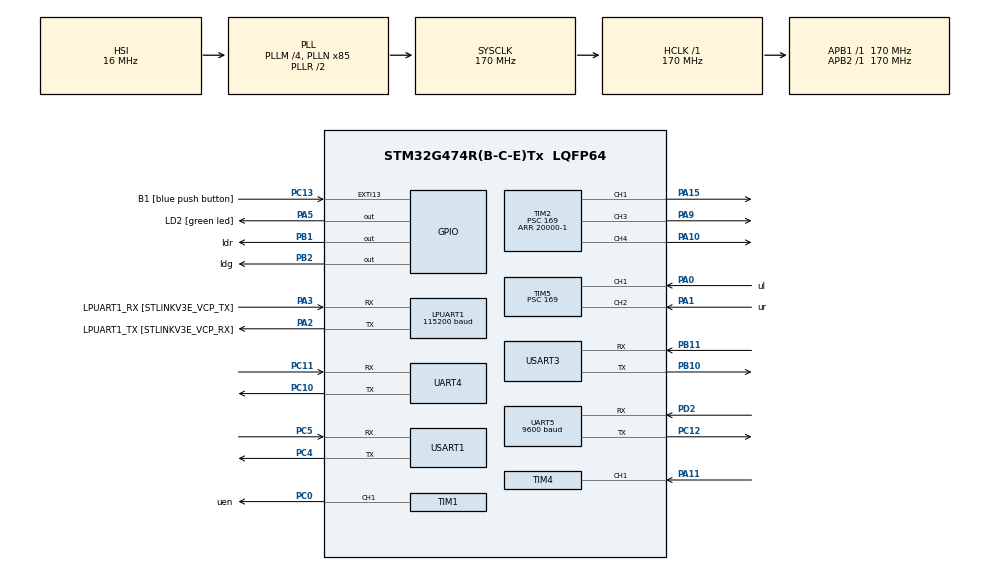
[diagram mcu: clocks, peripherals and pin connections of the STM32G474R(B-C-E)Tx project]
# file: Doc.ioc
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LPUART1.BaudRate=115200
Mcu.Family=STM32G4
Mcu.Name=STM32G474R(B-C-E)Tx
Mcu.Package=LQFP64
NVIC.EXTI15_10_IRQn=true\:0\:0\:false\:false\:true\:true\:true\:true
NVIC.PriorityGroup=NVIC_PRIORITYGROUP_4
NVIC.TIM4_IRQn=true\:0\:0\:false\:false\:true\:true\:true\:true
NVIC.TIM5_IRQn=true\:0\:0\:false\:false\:true\:true\:true\:true
PA0.GPIO_Label=ul
PA0.Signal=S_TIM5_CH1
PA1.GPIO_Label=ur
PA1.Signal=S_TIM5_CH2
PA10.Signal=S_TIM2_CH4
PA11.Signal=S_TIM4_CH1
PA13.GPIO_Label=T_SWDIO
PA13.Mode=Serial_Wire
PA13.Signal=SYS_JTMS-SWDIO
PA14.GPIO_Label=T_SWCLK
PA14.Mode=Serial_Wire
PA14.Signal=SYS_JTCK-SWCLK
PA15.Signal=S_TIM2_CH1
PA2.GPIO_Label=LPUART1_TX [STLINKV3E_VCP_RX]
PA2.Mode=Asynchronous
PA2.Signal=LPUART1_TX
PA3.GPIO_Label=LPUART1_RX [STLINKV3E_VCP_TX]
PA3.Mode=Asynchronous
PA3.Signal=LPUART1_RX
PA5.GPIO_Label=LD2 [green led]
PA5.Signal=GPIO_Output
PA9.Signal=S_TIM2_CH3
PB1.GPIO_Label=ldr
PB1.Signal=GPIO_Output
PB10.Mode=Asynchronous
PB10.Signal=USART3_TX
PB11.Mode=Asynchronous
PB11.Signal=USART3_RX
PB2.GPIO_Label=ldg
PB2.Signal=GPIO_Output
PB3.GPIO_Label=T_SWO
PB3.Signal=SYS_JTDO-SWO
PC0.GPIO_Label=uen
PC0.Signal=S_TIM1_CH1
PC10.Mode=Asynchronous
PC10.Signal=UART4_TX
PC11.Mode=Asynchronous
PC11.Signal=UART4_RX
PC12.Mode=Asynchronous
PC12.Signal=UART5_TX
PC13.GPIO_Label=B1 [blue push button]
PC13.Signal=GPXTI13
PC14-OSC32_IN.Mode=LSE-External-Oscillator
PC14-OSC32_IN.Signal=RCC_OSC32_IN
PC15-OSC32_OUT.Mode=LSE-External-Oscillator
PC15-OSC32_OUT.Signal=RCC_OSC32_OUT
PC4.Mode=Asynchronous
PC4.Signal=USART1_TX
PC5.Mode=Asynchronous
PC5.Signal=USART1_RX
PD2.Mode=Asynchronous
PD2.Signal=UART5_RX
PF0-OSC_IN.Mode=HSE-External-Oscillator
PF0-OSC_IN.Signal=RCC_OSC_IN
PF1-OSC_OUT.Mode=HSE-External-Oscillator
PF1-OSC_OUT.Signal=RCC_OSC_OUT
ProjectManager.HeapSize=0x200
ProjectManager.StackSize=0x400
ProjectManager.TargetToolchain=STM32CubeIDE
RCC.ADC12Freq_Value=170000000
RCC.ADC345Freq_Value=170000000
RCC.AHBFreq_Value=170000000
RCC.APB1Freq_Value=170000000
RCC.APB1TimFreq_Value=170000000
RCC.APB2Freq_Value=170000000
RCC.APB2TimFreq_Value=170000000
RCC.CortexFreq_Value=170000000
RCC.EXTERNAL_CLOCK_VALUE=12288000
RCC.HCLKFreq_Value=170000000
RCC.HSE_VALUE=24000000
RCC.HSI48_VALUE=48000000
RCC.HSI_VALUE=16000000
RCC.PLLM=RCC_PLLM_DIV4
RCC.PLLN=85
RCC.RTCClockSelection=RCC_RTCCLKSOURCE_LSE
RCC.SYSCLKFreq_VALUE=170000000
RCC.SYSCLKSource=RCC_SYSCLKSOURCE_PLLCLK
RCC.USBFreq_Value=170000000
RCC.VCOOutputFreq_Value=340000000
SH.S_TIM1_CH1.0=TIM1_CH1,PWM Generation1 CH1
SH.S_TIM2_CH1.0=TIM2_CH1,PWM Generation1 CH1
SH.S_TIM2_CH3.0=TIM2_CH3,PWM Generation3 CH3
SH.S_TIM2_CH4.0=TIM2_CH4,PWM Generation4 CH4
SH.S_TIM4_CH1.0=TIM4_CH1,Input_Capture1_from_TI1
SH.S_TIM5_CH1.0=TIM5_CH1,Input_Capture1_from_TI1
SH.S_TIM5_CH2.0=TIM5_CH2,Input_Capture2_from_TI2
TIM1.Channel-PWM\ Generation1\ CH1=TIM_CHANNEL_1
TIM1.PeriodNoDither=3499
TIM1.Prescaler=1699
TIM1.PulseNoDither_1=1
TIM2.Channel-PWM\ Generation1\ CH1=TIM_CHANNEL_1
TIM2.Channel-PWM\ Generation3\ CH3=TIM_CHANNEL_3
TIM2.Channel-PWM\ Generation4\ CH4=TIM_CHANNEL_4
TIM2.PeriodNoDither=20000-1
TIM2.Prescaler=169
TIM2.PulseNoDither_1=500
TIM2.PulseNoDither_3=500
TIM2.PulseNoDither_4=500
TIM4.Channel-Input_Capture1_from_TI1=TIM_CHANNEL_1
TIM4.ICPolarity_CH1=TIM_INPUTCHANNELPOLARITY_BOTHEDGE
TIM4.PeriodNoDither=0xffff
TIM4.Prescaler=33999
TIM5.Channel-Input_Capture1_from_TI1=TIM_CHANNEL_1
TIM5.Channel-Input_Capture2_from_TI2=TIM_CHANNEL_2
TIM5.ICPolarity_CH1=TIM_INPUTCHANNELPOLARITY_BOTHEDGE
TIM5.ICPolarity_CH2=TIM_INPUTCHANNELPOLARITY_BOTHEDGE
TIM5.PeriodNoDither=0xffffffff
TIM5.Prescaler=169
UART5.BaudRate=9600
USART1.VirtualMode-Asynchronous=VM_ASYNC
USART3.VirtualMode-Asynchronous=VM_ASYNC
VP_SYS_VS_DBSignals.Mode=DisableDeadBatterySignals
VP_TIM1_VS_ClockSourceINT.Mode=Internal
VP_TIM2_VS_ClockSourceINT.Mode=Internal
VP_TIM4_VS_ClockSourceINT.Mode=Internal
VP_TIM5_VS_ClockSourceINT.Mode=Internal
board=NUCLEO-G474RE

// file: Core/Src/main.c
/* USER CODE BEGIN Header */
/**
  ******************************************************************************
  * @file           : main.c
  * @brief          : Main program body
  ******************************************************************************
  * @attention
  *
  * Copyright (c) 2023 STMicroelectronics.
  * All rights reserved.
  *
  * This software is licensed under terms that can be found in the LICENSE file
  * in the root directory of this software component.
  * If no LICENSE file comes with this software, it is provided AS-IS.
  *
  ******************************************************************************
  */
/* USER CODE END Header */
#include "main.h"

/* USER CODE BEGIN Includes */
#include "stdio.h"

#include "pid.h"
/* USER CODE END Includes */

/* USER CODE BEGIN PD */

//for ATK process
#define  UART_ENABLE_RE(USARTx)       USARTx.Instance->CR1|= (uint32_t)0x0004
#define  UART_DISABLE_RE(USARTx)      USARTx.Instance->CR1&= (~(uint32_t)0x0004)

/* USER CODE END PD */

UART_HandleTypeDef hlpuart1;
UART_HandleTypeDef huart4;
UART_HandleTypeDef huart5;
UART_HandleTypeDef huart1;
UART_HandleTypeDef huart3;

TIM_HandleTypeDef htim1;
TIM_HandleTypeDef htim2;
TIM_HandleTypeDef htim4;
TIM_HandleTypeDef htim5;

/* USER CODE BEGIN PV */
//varables for the timer
uint8_t timel_flag=0;//0: first capture, 1: second capture
uint8_t timel_fin=0;//0: not finished, 1: finished
uint64_t timel_1=0;
uint64_t timel_2=0;//left sensor
double cml=0;//cm of left sensor

uint8_t timer_flag=0;//0: first capture, 1: second capture
uint8_t timer_fin=0;//0: not finished, 1: finished
uint64_t timer_1=0;
uint64_t timer_2=0;//right sensor
double cmr=0;//cm of right sensor

uint8_t timef_flag=0;
uint8_t timef_fin=0;//0: not finished, 1: finished
uint32_t timef_1=0;
uint32_t timef_2=0;//right sensor
double cmf=0;//cm of right sensor

double Inputultra, Outputultra;
double Setpointultra= 0;
double Inputdistance, Outputdistance;
double Setpointdistance= 20;
PID_TypeDef myPIDultra; //PID structure
PID_TypeDef myPIDdistance; //PID structure

uint8_t xspeed=0;//speed of x axis
uint8_t xflag=0;//2: forward, 1: backward

uint8_t yspeed=0;//speed of y axis
uint8_t yflag=0;//2: right, 1: left

uint16_t wspeed=0;//anguler speed
uint8_t wflag=0;//2: counter-clock, 1: clock

uint8_t openmv_instrction[7]={0};//instruction from openmv

float roll, pitch, yaw; // ATK Return Value
int selfAngelint;
float initial_Pitch; // ATK Return Value
int initial_selfAngelint;
/* USER CODE END PV */

void SystemClock_Config(void);
static void MX_GPIO_Init(void);
static void MX_TIM5_Init(void);
static void MX_TIM1_Init(void);
static void MX_LPUART1_UART_Init(void);
static void MX_UART4_Init(void);
static void MX_TIM4_Init(void);
static void MX_UART5_Init(void);
static void MX_USART1_UART_Init(void);
static void MX_USART3_UART_Init(void);
static void MX_TIM2_Init(void);
/* USER CODE BEGIN PFP */
//Redirect printf to UART
#define PUTCHAR_PROTOTYPE int __io_putchar(int ch)

//define a function to toggle the LD2 LED in a certain pattern
void toggleLD2(uint32_t delay) {
  HAL_GPIO_WritePin(LD2_GPIO_Port, LD2_Pin, GPIO_PIN_SET);
  HAL_Delay(delay);
  HAL_GPIO_WritePin(LD2_GPIO_Port, LD2_Pin,GPIO_PIN_RESET);
  HAL_Delay(delay);
  //printf("Working\r\n");
}

//interrupt handler for the timer
void HAL_TIM_IC_CaptureCallback(TIM_HandleTypeDef *htim)
{
  if (htim->Instance == TIM5) {
      switch (htim->Channel) {
        case HAL_TIM_ACTIVE_CHANNEL_2://right sensor
          if(timer_flag==0)
          {
            timer_1 = HAL_TIM_ReadCapturedValue(htim, TIM_CHANNEL_2);
            //printf("Echo right counter tr1= %d\r\n",timer_1);
            timer_flag=1;
            timer_fin=0;
          }
          else
          {
            timer_2 = HAL_TIM_ReadCapturedValue(htim, TIM_CHANNEL_2);
            //printf("Echo right counter tr2= %d\r\n",timer_2);
            timer_flag=0;
            timer_fin=1;
            if(timer_1<timer_2)//if the timer is not overflowed
            {
              cmr = (double)(timer_2 - timer_1) * 0.017;//340*100/1e6/2
            }
            else
            {
              cmr = (double)(timer_2 + 0xffffffff - timer_1) * 0.017;//340*100/1e6/2
            }
            timer_1=0;
            //printf("Distance right = %.3f cm. \r\n",  cmr);
          }
          //printf("Echo right: t1= %.3f us,  t2= %.3f us\r",timer_1*10, timer_2*10);
          HAL_TIM_IC_Start_IT(&htim5, TIM_CHANNEL_2);
          break;

        case HAL_TIM_ACTIVE_CHANNEL_1://left sensor
          if(timel_flag==0)
          {
            timel_1 = HAL_TIM_ReadCapturedValue(htim, TIM_CHANNEL_1);
            //printf("Echo left counter tl1= %d\r\n",timel_1);
            timel_flag=1;
            timel_fin=0;
          }
          else
          {
            timel_2 = HAL_TIM_ReadCapturedValue(htim, TIM_CHANNEL_1);
            //printf("Echo left counter tl2= %d\r\n",timel_2);
            timel_flag=0;
            timel_fin=1;
            if(timel_1<timel_2)//if the timer is not overflowed
            {
              cml = (double)(timel_2 - timel_1) * 0.017;//340*100/1e6/2
            }
            else
            {
              cml = (double)(timel_2 + 0xffffffff - timel_1) * 0.017;//340*100/1e6/2
            }
            timel_1=0;
          }
          //printf("Echo left: t1= %.3f us,  t2= %.3f us\r",timel_1*10, timel_2*10);
          //printf("Distance left = %.3f cm. \r\n",  cml);
          HAL_TIM_IC_Start_IT(&htim5, TIM_CHANNEL_1);
          break;
        default:
          printf("Error timer channel.\r\n");
          break;
      }
    }
  if (htim->Instance == TIM4) {
    switch (htim->Channel) {
        case HAL_TIM_ACTIVE_CHANNEL_1://right sensor
          if(timef_flag==0)
          {
            timef_1 = HAL_TIM_ReadCapturedValue(htim, TIM_CHANNEL_1);
            //printf("Echo front: tf1= %d us\r",timef_1*10);
            timef_flag=1;
            timef_fin=0;
          }
          else
          {
            timef_2 = HAL_TIM_ReadCapturedValue(htim, TIM_CHANNEL_1);
            timef_flag=0;
            timef_fin=1;
            if(timef_1<timef_2)//if the timer is not overflowed
            {
              cmf = (double)(timef_2 - timef_1) * 3.4;//340*100/5e3/2
            }
            else
            {
              cmf = (double)(timef_2 + 0xffff - timef_1) * 3.4;//340*100/5e3/2
            }
            timef_1=0;
          }
          //printf("Echo front: t= %.3f us\r\n",timel_1*10, timer_2*10);
          //printf("Distance front = %.3f cm. \r\n",  cmf);
          HAL_TIM_IC_Start_IT(&htim4, TIM_CHANNEL_1);
          break;
        default:
          printf("Error timer channel.\r\n");
          break;
    }
  }
}
void toggleldr(uint32_t delay) {
  HAL_GPIO_WritePin(ldr_GPIO_Port, ldr_Pin,GPIO_PIN_SET);
  HAL_Delay(delay);
  HAL_GPIO_WritePin(ldr_GPIO_Port, ldr_Pin,GPIO_PIN_RESET);
  HAL_Delay(delay);
}

void toggleldg(uint32_t delay) {
  HAL_GPIO_WritePin(ldg_GPIO_Port, ldg_Pin,GPIO_PIN_SET);
  HAL_Delay(delay);
  HAL_GPIO_WritePin(ldg_GPIO_Port, ldg_Pin,GPIO_PIN_RESET);
  HAL_Delay(delay);
}

void drive ()
{
  //Transfer int to char for output
    char outputstr [11];
    outputstr [0] = 0x90;
    outputstr [1] = xflag;
    outputstr [2] = xspeed / 10;
    outputstr [3] = xspeed % 10;
    outputstr [4] = yflag;
    outputstr [5] = yspeed / 10;
    outputstr [6] = yspeed % 10;
    outputstr [7] = wflag;
    outputstr [8] = wspeed / 100;
    outputstr [9] = wspeed % 100 / 10;
    outputstr [10] = wspeed % 10;
    //Transmit the instruction to the motor driver
    HAL_UART_Transmit(&huart4, (uint8_t*)outputstr, 11, 100);
}
//Redirect arduino print to UART
void print(double c)
{
  printf("%.3f", c);
}
//Redirect arduino println to UART
void println(double str)
{
  printf("%.3f\r\n", str);
}
//Redifine output functions

void Right(uint8_t speed)
{
  yspeed=speed;
  yflag=2;
}

void Left(uint8_t speed)
{
  yspeed=speed;
  yflag=1;
}

void Forward(uint8_t speed)
{
  xspeed=speed;
  xflag=2;
}

void Backward(uint8_t speed)
{
  xspeed=speed;
  xflag=1;
}

void Turn_Left(uint16_t speed)
{
  wspeed=speed;
  wflag=2;
}

void Turn_Right(uint16_t speed)
{
  wspeed=speed;
  wflag=1;
}

void Alignment(double cmleft, double cmright)
{
  printf("Distance left = %.3f cm, Distance right = %.3f cm.\r\n", cmleft, cmright);
  Inputultra = cmleft-cmright;
  Inputdistance = (cmleft + cmright) / 2;

  if (PID_Compute(&myPIDdistance)==_FALSE)
    printf("PID_Compute for distance error\r\n");

  printf("Outputdistance = %.3f\r\n", Outputdistance);
  //myPIDdistance.Compute();

  if(Outputdistance < 0)//if there is a need to move closer to wall
  {
    if(Inputdistance < 21)//but the actual distance is not that far
    {
      //do nothing
      //println(Inputdistance);
      //println(Outputdistance);
      //allstop();?
      Left(0);
    }
    else
    {
      //move far from the wall
      printf("Too far from wall\r\n");
      Left((uint8_t)(-Outputdistance));
      // println(Inputdistance);
      // println(Outputdistance);
    }
  }
  else
  {//if there is a need to move far from the wall
    if(Inputdistance > 19)//but the actual distance is not that close
    {
      //do nothing
      // println(Inputdistance);
      // println(Outputdistance);
      //allstop();
      Right(0);
    }
    else
    {
      printf("Too close to wall\r\n");
      Right((uint8_t)Outputdistance);
      // println(Inputdistance);
      // println(Outputdistance);
    }
  }

  if (PID_Compute(&myPIDultra)==_FALSE)
    printf("PID_Compute for ultra error\r\n");

  printf("Outputultra = %.3f\r\n", Outputultra);
  //myPIDultra.Compute();

  if (Outputultra >= 0)
  {
    if(Inputultra < 2)
    {
      //print(Inputultra);
      Turn_Right(0);
    }
    else
    {
      Turn_Right((uint16_t)Outputultra);
      //print(Inputultra);
    }
  }
  else
  {
    if(Inputultra > -2)
    {
      //print(Inputultra);
      Turn_Left(0);
    }
    else
    {
      Turn_Left((uint16_t)(-Outputultra));
      //print(Inputultra);
    }
  }
  // Serial.print("Echoleft,right =");
  // Serial.print(templeft);//串口输出等待时间的原始数�?????????
  // Serial.print(",");
  // Serial.print(tempright);
  // Serial.print(" | | Distanceleft,right = ");
  // Serial.print(cmleft);//串口输出距离换算成cm的结�?????????
  // Serial.print(",");
  // Serial.print(cmright);
  // Serial.println("cm");
}

uint8_t hc12send(uint8_t data)
{
  return HAL_UART_Transmit(&huart5, &data, 1, 100);
}

uint8_t openmvreceive(void)
{
  return HAL_UART_Receive(&huart3, &openmv_instrction, 7, 100);
}

// void SendPC(char* InfoStr, int L)
// {
//   HAL_UART_Transmit(&huart5, (uint8_t*)InfoStr, L, HAL_MAX_DELAY);
// }

// void SendPCint(int dat)
// {
//   char tmp[20];
//   int i=0, flag = 0;
//   for(i=0; i<20;i++)
//   {
//     tmp[i] = 0;
//   }
//   i = 0;
//   if(dat < 0){
//     dat = -dat;
//     flag = 1;
//   }
//   else if (dat == 0)
//   {
//     tmp[i] = '0';
//     i++;
//   }
//   while(dat)
//   {
//       tmp[i]=dat%10+0x30;
//       i++;
//       dat/=10;
//   }
//   if(flag)
//   {
//     tmp[i] = '-';
//     i++;
//   }

//   for(i=i-1; i>=0;i--)
//   {
//     SendPC(tmp + i, 1);
//   }
//   SendPC("\r\n", 2);
// }

int atkAngleRound(int a)
{
  return ((a + 360)%360);
}
void ATKPrcess()// update ATK value
{
  int r = 0;
  char ATKbuf[100];

  UART_ENABLE_RE(huart1);
  if (HAL_UART_Receive(&huart1, (uint8_t*)ATKbuf, 20, HAL_MAX_DELAY) == HAL_ERROR) // Read frames from ATK
  {
    UART_DISABLE_RE(huart1); //error
    return;
  }
  UART_DISABLE_RE(huart1);

  // char pp[] = "\x90\x90\x90\x90";
  // SendPC(pp, 4);
  // SendPC(ATKbuf, 30);

  char ATKframes[10];
  for(r = 3; r<20; r++){ // Find the Report message
    if((ATKbuf[r-3] == 0x55 && ATKbuf[r-2] == 0x55) && ATKbuf[r-1] == 0x01)
    {
      int i = 0, N = ATKbuf[r];
      char * tmp = &ATKbuf[r+1];

      // char pp[] = "\x90\x90\x90\x90";
      // SendPC(pp, 4);
      // SendPC(tmp, 8);

      uint8_t sum = 0x55 + 0x55 + 0x01 + N;  //checksum
      for(i = 0; i < N; i++)
      {
        ATKframes[i] = tmp[i];
        sum += tmp[i];
      }

      if(sum == tmp[i])
      {
        break; // if checksum pass
      }

    }
  }

  if(r == 20) // Do not find the correct reply
  {
    return;
  }

  roll = (float)((int16_t)(ATKframes[1] << 8) | ATKframes[0]) / 32768 * 180;
  pitch = (float)((int16_t)(ATKframes[3] << 8) | ATKframes[2]) / 32768 * 180;
  roll = (float)((int16_t)(ATKframes[5] << 8) | ATKframes[4]) / 32768 * 180;
  selfAngelint = ((int)roll + 180) % 360;
  // selfAngelint = ((int)pitch + 180) % 360;
  // SendPC("Roll = ", 8);
  // SendPCint(selfAngelint);
  // char qwq[4];
  // qwq[0] = (int)(selfAngelint/100) + '0';
  // qwq[1] = (int)(selfAngelint/10)%10 + '0';
  // qwq[2] = selfAngelint%10 + '0';
  // qwq[3] = '\n';
  // HAL_UART_Transmit(&huart5, qwq, 4, HAL_MAX_DELAY);
}

void Set_angle(TIM_HandleTypeDef * htim,uint32_t Channel,uint8_t angle,uint32_t countPeriod,uint32_t CycleTime)
{
	uint16_t compare_value=0;
  if(angle<=180)
  {
    compare_value=0.5*countPeriod/CycleTime+angle*countPeriod/CycleTime/90; //compute the compare_value
    __HAL_TIM_SET_COMPARE(htim, Channel, compare_value);
	}
}

int GetOpemMv() // Return Turn Angle
{

  uint8_t r = 0;
  char Mvbuf[10];
  char* frame;
  uint8_t TurnAngle = 0;

  UART_ENABLE_RE(huart3);
  if (HAL_UART_Receive(&huart3, (uint8_t*)Mvbuf, 10, HAL_MAX_DELAY) == HAL_ERROR) // Read frames from ATK
  {
    UART_DISABLE_RE(huart3); //error
    return HAL_ERROR;
  }
  UART_DISABLE_RE(huart3);

  for(r=0; r<5;r++)
  {
    if(Mvbuf[r] == 'a')
    {
      frame = Mvbuf + r;
      if (frame[1] == '1')
      {
        TurnAngle = (frame[2] - '0') * 100 + (frame[3] - '0') * 10 + (frame[4] - '0');
        break;
      }
    }
  }
  if(Mvbuf[r] == 'a')
    return TurnAngle;
  return HAL_ERROR;
}

void turn_Angle(int angle, int direction)
{
  int aimAngle=0;
  int iniAngle=0;
  uint8_t flag = 1;
  ATKPrcess();
  iniAngle = selfAngelint;

  if(direction == 1)
  {
    Forward(0);
    Left(0);
    Turn_Right(600); //增大目前角度
    drive();
      // SendPCint(aimAngle);
    while (1)
    {
      // toggleLD2(10);
      ATKPrcess();
      if (atkAngleRound(selfAngelint - iniAngle) >= 88 && atkAngleRound(selfAngelint - iniAngle) <= 92)
        break;

      if (atkAngleRound(selfAngelint - iniAngle) >= 45 && flag == 1)
      {
        flag = 0;
        Forward(0);
        Left(0);
        Turn_Right(400); //增大目前角度
        drive();

      }
      // SendPCint(aimAngle);
    }

    Forward(0);
    Left(0);
    Turn_Left(0);
    drive();
    toggleLD2(100);

    ATKPrcess();
    if (atkAngleRound(selfAngelint - iniAngle) >=89 && atkAngleRound(selfAngelint - iniAngle) <= 91)
      return;

    Forward(0);
    Left(0);
    Turn_Left(150); //减小目前角度
    drive();

    while (1)
    {
      // toggleLD2(5);
      if (atkAngleRound(selfAngelint - iniAngle) >=89 && atkAngleRound(selfAngelint - iniAngle) <= 91)
        break;
      ATKPrcess();

      // SendPCint(aimAngle);
    }
  }
  else if(direction == 2)
  {
    Forward(0);
    Left(0);
    Turn_Left(600);//减小目前角度
    drive();

    while (1)
    {
      // toggleLD2(10);
      ATKPrcess();
      if (atkAngleRound(iniAngle - selfAngelint) >= 88 && atkAngleRound(iniAngle - selfAngelint) <= 92)
        break;
      if (atkAngleRound(iniAngle - selfAngelint) >= 45 && flag == 1)
      {
        flag = 0;
        Forward(0);
        Left(0);
        Turn_Left(400); //增大目前角度
        drive();

      }
      // SendPCint(aimAngle);
    }

    Forward(0);
    Left(0);
    Turn_Left(0);
    drive();
    toggleLD2(100);

    ATKPrcess();

    if (atkAngleRound(iniAngle - selfAngelint) >=89 && atkAngleRound(iniAngle - selfAngelint) <= 91)
      return;

    Forward(0);
    Left(0);
    Turn_Right(150); //增大目前角度
    drive();

    while (1)
    {
      // toggleLD2(10);
      if (atkAngleRound(iniAngle - selfAngelint) >=89 && atkAngleRound(iniAngle - selfAngelint) <= 91)
        break;
      ATKPrcess();
      // SendPCint(aimAngle);
    }
  }

  Forward(0);
  Left(0);
  Turn_Left(0);
  drive();
  toggleLD2(100);
  return;
}
/* USER CODE END PFP */

int main(void)
{

  /* MCU Configuration--------------------------------------------------------*/

  /* Reset of all peripherals, Initializes the Flash interface and the Systick. */
  HAL_Init();

  /* Configure the system clock */
  SystemClock_Config();

  /* Initialize all configured peripherals */
  MX_GPIO_Init();
  MX_TIM5_Init();
  MX_TIM1_Init();
  MX_LPUART1_UART_Init();
  MX_UART4_Init();
  MX_TIM4_Init();
  MX_UART5_Init();
  MX_USART1_UART_Init();
  MX_USART3_UART_Init();
  MX_TIM2_Init();
  /* USER CODE BEGIN 2 */
  //Load parameters to PID
  PID(&myPIDultra, &Inputultra, &Outputultra, &Setpointultra,  20, 40, 1, _PID_P_ON_E, _PID_CD_DIRECT);
  PID_SetMode(&myPIDultra, _PID_MODE_AUTOMATIC);
  PID_SetSampleTime(&myPIDultra, 50);
  PID_SetOutputLimits(&myPIDultra, -500, 500);

  PID(&myPIDdistance, &Inputdistance, &Outputdistance, &Setpointdistance,  0.8, 200, 15, _PID_P_ON_E, _PID_CD_DIRECT);
  PID_SetMode(&myPIDdistance, _PID_MODE_AUTOMATIC);
  PID_SetSampleTime(&myPIDdistance, 50);
  PID_SetOutputLimits(&myPIDdistance, -20, 20);

  //start TIM1 PWM generator
  HAL_TIM_PWM_Start(&htim1, TIM_CHANNEL_1);
  HAL_TIM_PWM_Start(&htim2, TIM_CHANNEL_1); // Machine Arm: 0(normal) and 180(putting)
  HAL_TIM_PWM_Start(&htim2, TIM_CHANNEL_3); // Bule servo(top): 90
  HAL_TIM_PWM_Start(&htim2, TIM_CHANNEL_4); // Bule servo(openmv): 110(rectangle) and 65(45 degree)
  //start TIM5 IT left and right sensor
  HAL_TIM_IC_Start_IT(&htim5, TIM_CHANNEL_1);
  HAL_TIM_IC_Start_IT(&htim5, TIM_CHANNEL_2);
  HAL_TIM_IC_Start_IT(&htim4, TIM_CHANNEL_1);

  //Servo initial position
  Set_angle(&htim2,TIM_CHANNEL_1, 0,20000,20);
  Set_angle(&htim2,TIM_CHANNEL_3, 90,20000,20);
  Set_angle(&htim2,TIM_CHANNEL_4, 110,20000,20);

  //Recode initial Pitch
  ATKPrcess();
  initial_Pitch = pitch;
  initial_selfAngelint = selfAngelint;

  int openmvAngle = 0;
  printf("Initialized. \r\n");
  /* USER CODE END 2 */

  /* Infinite loop */
  /* USER CODE BEGIN WHILE */
  while (1)
  {

    // HAL_GPIO_WritePin(GPIOA, GPIO_PIN_5, GPIO_PIN_SET);
    //Set_angle(&htim2,TIM_CHANNEL_1, 0,20000,20);
    // Set_angle(&htim1,TIM_CHANNEL_4, 110,20000,20);
    // Forward(0);
    // Left(0);
    // Turn_Left(0);
    // drive();
    //toggleLD2(100);

    //HAL_Delay(5000);
    //Set_angle(&htim2,TIM_CHANNEL_1, 180,20000,20);
    //toggleLD2(100);

    // turn_Angle(90, 1);

    //HAL_Delay(5000);
    // HAL_GPIO_WritePin(GPIOA, GPIO_PIN_5, GPIO_PIN_RESET);

    // HAL_Delay(10000);
    /* USER CODE END WHILE */

    /* USER CODE BEGIN 3 */
	  /****************TASK1******************/
	  //follow the curve
	  //  openmvAngle = GetOpemMv();
	  //      if (openmvAngle != HAL_ERROR)
	  //      {
	  //      }
	  //      Left(0);
    //       int omega=(openmv_instrction[5]-30)*10+(openmv_instrction[6]-30);
    //       if(omega <=10)
    //       {
    //         Left(0);
    //       }
    //       else
    //       {
    //         switch (openmv_instrction[4])
    //         {
    //           //05 00 013: 0代表负\左，1代表正\右，第一位是符号位，发�?�三个数：x,y,w
    //         case '0':
    //           Turn_Left(omega);
    //           break;

    //         case '1':
    //           Turn_Right(omega);
    //           break;
    //         }

	  //       Forward(20);
    //       toggleLD2(100);
	  //       drive();
    //      }
	  /****************TASK1******************/

    /****************TASK 2******************/
     if(cmf<=5)
         {
           while(1)
           {
             Forward(0);
             Left(0);
             Turn_Left(0);
             drive();
             toggleLD2(100);
             if (cmf>5)
             {
               break;
             }
           }
         }
     if(timel_fin==1 && timer_fin ==1)//if two counting is finished
     {
     Alignment(cml, cmr);
     //   timel_fin=0;
     //   timer_fin=0;
     }
     Forward(20);
     drive();
     toggleLD2(50);
    /****************TASK1******************/
    // }
    // Forward(0);
    // Left(0);
    // Turn_Left(0);
    // drive();
    // toggleLD2(100);
    // while ()
    // {
    //   /* code */
    // }
    //turn_Angle(90,1);
    //HAL_Delay(5000);

  }

  /* USER CODE END 3 */
}

void SystemClock_Config(void)
{
  RCC_OscInitTypeDef RCC_OscInitStruct = {0};
  RCC_ClkInitTypeDef RCC_ClkInitStruct = {0};

  /** Configure the main internal regulator output voltage
  */
  HAL_PWREx_ControlVoltageScaling(PWR_REGULATOR_VOLTAGE_SCALE1_BOOST);

  /** Initializes the RCC Oscillators according to the specified parameters
  * in the RCC_OscInitTypeDef structure.
  */
  RCC_OscInitStruct.OscillatorType = RCC_OSCILLATORTYPE_HSI;
  RCC_OscInitStruct.HSIState = RCC_HSI_ON;
  RCC_OscInitStruct.HSICalibrationValue = RCC_HSICALIBRATION_DEFAULT;
  RCC_OscInitStruct.PLL.PLLState = RCC_PLL_ON;
  RCC_OscInitStruct.PLL.PLLSource = RCC_PLLSOURCE_HSI;
  RCC_OscInitStruct.PLL.PLLM = RCC_PLLM_DIV4;
  RCC_OscInitStruct.PLL.PLLN = 85;
  RCC_OscInitStruct.PLL.PLLP = RCC_PLLP_DIV2;
  RCC_OscInitStruct.PLL.PLLQ = RCC_PLLQ_DIV2;
  RCC_OscInitStruct.PLL.PLLR = RCC_PLLR_DIV2;
  if (HAL_RCC_OscConfig(&RCC_OscInitStruct) != HAL_OK)
  {
    Error_Handler();
  }

  /** Initializes the CPU, AHB and APB buses clocks
  */
  RCC_ClkInitStruct.ClockType = RCC_CLOCKTYPE_HCLK|RCC_CLOCKTYPE_SYSCLK
                              |RCC_CLOCKTYPE_PCLK1|RCC_CLOCKTYPE_PCLK2;
  RCC_ClkInitStruct.SYSCLKSource = RCC_SYSCLKSOURCE_PLLCLK;
  RCC_ClkInitStruct.AHBCLKDivider = RCC_SYSCLK_DIV1;
  RCC_ClkInitStruct.APB1CLKDivider = RCC_HCLK_DIV1;
  RCC_ClkInitStruct.APB2CLKDivider = RCC_HCLK_DIV1;

  if (HAL_RCC_ClockConfig(&RCC_ClkInitStruct, FLASH_LATENCY_4) != HAL_OK)
  {
    Error_Handler();
  }
}

static void MX_LPUART1_UART_Init(void)
{

  hlpuart1.Instance = LPUART1;
  hlpuart1.Init.BaudRate = 115200;
  hlpuart1.Init.WordLength = UART_WORDLENGTH_8B;
  hlpuart1.Init.StopBits = UART_STOPBITS_1;
  hlpuart1.Init.Parity = UART_PARITY_NONE;
  hlpuart1.Init.Mode = UART_MODE_TX_RX;
  hlpuart1.Init.HwFlowCtl = UART_HWCONTROL_NONE;
  hlpuart1.Init.OneBitSampling = UART_ONE_BIT_SAMPLE_DISABLE;
  hlpuart1.Init.ClockPrescaler = UART_PRESCALER_DIV1;
  hlpuart1.AdvancedInit.AdvFeatureInit = UART_ADVFEATURE_NO_INIT;
  if (HAL_UART_Init(&hlpuart1) != HAL_OK)
  {
    Error_Handler();
  }
  if (HAL_UARTEx_SetTxFifoThreshold(&hlpuart1, UART_TXFIFO_THRESHOLD_1_8) != HAL_OK)
  {
    Error_Handler();
  }
  if (HAL_UARTEx_SetRxFifoThreshold(&hlpuart1, UART_RXFIFO_THRESHOLD_1_8) != HAL_OK)
  {
    Error_Handler();
  }
  if (HAL_UARTEx_DisableFifoMode(&hlpuart1) != HAL_OK)
  {
    Error_Handler();
  }

}

static void MX_UART4_Init(void)
{

  huart4.Instance = UART4;
  huart4.Init.BaudRate = 115200;
  huart4.Init.WordLength = UART_WORDLENGTH_8B;
  huart4.Init.StopBits = UART_STOPBITS_1;
  huart4.Init.Parity = UART_PARITY_NONE;
  huart4.Init.Mode = UART_MODE_TX_RX;
  huart4.Init.HwFlowCtl = UART_HWCONTROL_NONE;
  huart4.Init.OverSampling = UART_OVERSAMPLING_16;
  huart4.Init.OneBitSampling = UART_ONE_BIT_SAMPLE_DISABLE;
  huart4.Init.ClockPrescaler = UART_PRESCALER_DIV1;
  huart4.AdvancedInit.AdvFeatureInit = UART_ADVFEATURE_NO_INIT;
  if (HAL_UART_Init(&huart4) != HAL_OK)
  {
    Error_Handler();
  }
  if (HAL_UARTEx_SetTxFifoThreshold(&huart4, UART_TXFIFO_THRESHOLD_1_8) != HAL_OK)
  {
    Error_Handler();
  }
  if (HAL_UARTEx_SetRxFifoThreshold(&huart4, UART_RXFIFO_THRESHOLD_1_8) != HAL_OK)
  {
    Error_Handler();
  }
  if (HAL_UARTEx_DisableFifoMode(&huart4) != HAL_OK)
  {
    Error_Handler();
  }

}

static void MX_UART5_Init(void)
{

  huart5.Instance = UART5;
  huart5.Init.BaudRate = 9600;
  huart5.Init.WordLength = UART_WORDLENGTH_8B;
  huart5.Init.StopBits = UART_STOPBITS_1;
  huart5.Init.Parity = UART_PARITY_NONE;
  huart5.Init.Mode = UART_MODE_TX_RX;
  huart5.Init.HwFlowCtl = UART_HWCONTROL_NONE;
  huart5.Init.OverSampling = UART_OVERSAMPLING_16;
  huart5.Init.OneBitSampling = UART_ONE_BIT_SAMPLE_DISABLE;
  huart5.Init.ClockPrescaler = UART_PRESCALER_DIV1;
  huart5.AdvancedInit.AdvFeatureInit = UART_ADVFEATURE_NO_INIT;
  if (HAL_UART_Init(&huart5) != HAL_OK)
  {
    Error_Handler();
  }
  if (HAL_UARTEx_SetTxFifoThreshold(&huart5, UART_TXFIFO_THRESHOLD_1_8) != HAL_OK)
  {
    Error_Handler();
  }
  if (HAL_UARTEx_SetRxFifoThreshold(&huart5, UART_RXFIFO_THRESHOLD_1_8) != HAL_OK)
  {
    Error_Handler();
  }
  if (HAL_UARTEx_DisableFifoMode(&huart5) != HAL_OK)
  {
    Error_Handler();
  }

}

static void MX_USART1_UART_Init(void)
{

  huart1.Instance = USART1;
  huart1.Init.BaudRate = 115200;
  huart1.Init.WordLength = UART_WORDLENGTH_8B;
  huart1.Init.StopBits = UART_STOPBITS_1;
  huart1.Init.Parity = UART_PARITY_NONE;
  huart1.Init.Mode = UART_MODE_TX_RX;
  huart1.Init.HwFlowCtl = UART_HWCONTROL_NONE;
  huart1.Init.OverSampling = UART_OVERSAMPLING_16;
  huart1.Init.OneBitSampling = UART_ONE_BIT_SAMPLE_DISABLE;
  huart1.Init.ClockPrescaler = UART_PRESCALER_DIV1;
  huart1.AdvancedInit.AdvFeatureInit = UART_ADVFEATURE_NO_INIT;
  if (HAL_UART_Init(&huart1) != HAL_OK)
  {
    Error_Handler();
  }
  if (HAL_UARTEx_SetTxFifoThreshold(&huart1, UART_TXFIFO_THRESHOLD_1_8) != HAL_OK)
  {
    Error_Handler();
  }
  if (HAL_UARTEx_SetRxFifoThreshold(&huart1, UART_RXFIFO_THRESHOLD_1_8) != HAL_OK)
  {
    Error_Handler();
  }
  if (HAL_UARTEx_DisableFifoMode(&huart1) != HAL_OK)
  {
    Error_Handler();
  }

}

static void MX_USART3_UART_Init(void)
{

  huart3.Instance = USART3;
  huart3.Init.BaudRate = 115200;
  huart3.Init.WordLength = UART_WORDLENGTH_8B;
  huart3.Init.StopBits = UART_STOPBITS_1;
  huart3.Init.Parity = UART_PARITY_NONE;
  huart3.Init.Mode = UART_MODE_TX_RX;
  huart3.Init.HwFlowCtl = UART_HWCONTROL_NONE;
  huart3.Init.OverSampling = UART_OVERSAMPLING_16;
  huart3.Init.OneBitSampling = UART_ONE_BIT_SAMPLE_DISABLE;
  huart3.Init.ClockPrescaler = UART_PRESCALER_DIV1;
  huart3.AdvancedInit.AdvFeatureInit = UART_ADVFEATURE_NO_INIT;
  if (HAL_UART_Init(&huart3) != HAL_OK)
  {
    Error_Handler();
  }
  if (HAL_UARTEx_SetTxFifoThreshold(&huart3, UART_TXFIFO_THRESHOLD_1_8) != HAL_OK)
  {
    Error_Handler();
  }
  if (HAL_UARTEx_SetRxFifoThreshold(&huart3, UART_RXFIFO_THRESHOLD_1_8) != HAL_OK)
  {
    Error_Handler();
  }
  if (HAL_UARTEx_DisableFifoMode(&huart3) != HAL_OK)
  {
    Error_Handler();
  }

}

static void MX_TIM1_Init(void)
{

  TIM_ClockConfigTypeDef sClockSourceConfig = {0};
  TIM_MasterConfigTypeDef sMasterConfig = {0};
  TIM_OC_InitTypeDef sConfigOC = {0};
  TIM_BreakDeadTimeConfigTypeDef sBreakDeadTimeConfig = {0};

  htim1.Instance = TIM1;
  htim1.Init.Prescaler = 1699;
  htim1.Init.CounterMode = TIM_COUNTERMODE_UP;
  htim1.Init.Period = 3499;
  htim1.Init.ClockDivision = TIM_CLOCKDIVISION_DIV1;
  htim1.Init.RepetitionCounter = 0;
  htim1.Init.AutoReloadPreload = TIM_AUTORELOAD_PRELOAD_DISABLE;
  if (HAL_TIM_Base_Init(&htim1) != HAL_OK)
  {
    Error_Handler();
  }
  sClockSourceConfig.ClockSource = TIM_CLOCKSOURCE_INTERNAL;
  if (HAL_TIM_ConfigClockSource(&htim1, &sClockSourceConfig) != HAL_OK)
  {
    Error_Handler();
  }
  if (HAL_TIM_PWM_Init(&htim1) != HAL_OK)
  {
    Error_Handler();
  }
  sMasterConfig.MasterOutputTrigger = TIM_TRGO_RESET;
  sMasterConfig.MasterOutputTrigger2 = TIM_TRGO2_RESET;
  sMasterConfig.MasterSlaveMode = TIM_MASTERSLAVEMODE_DISABLE;
  if (HAL_TIMEx_MasterConfigSynchronization(&htim1, &sMasterConfig) != HAL_OK)
  {
    Error_Handler();
  }
  sConfigOC.OCMode = TIM_OCMODE_PWM1;
  sConfigOC.Pulse = 1;
  sConfigOC.OCPolarity = TIM_OCPOLARITY_HIGH;
  sConfigOC.OCNPolarity = TIM_OCNPOLARITY_HIGH;
  sConfigOC.OCFastMode = TIM_OCFAST_DISABLE;
  sConfigOC.OCIdleState = TIM_OCIDLESTATE_RESET;
  sConfigOC.OCNIdleState = TIM_OCNIDLESTATE_RESET;
  if (HAL_TIM_PWM_ConfigChannel(&htim1, &sConfigOC, TIM_CHANNEL_1) != HAL_OK)
  {
    Error_Handler();
  }
  sBreakDeadTimeConfig.OffStateRunMode = TIM_OSSR_DISABLE;
  sBreakDeadTimeConfig.OffStateIDLEMode = TIM_OSSI_DISABLE;
  sBreakDeadTimeConfig.LockLevel = TIM_LOCKLEVEL_OFF;
  sBreakDeadTimeConfig.DeadTime = 0;
  sBreakDeadTimeConfig.BreakState = TIM_BREAK_DISABLE;
  sBreakDeadTimeConfig.BreakPolarity = TIM_BREAKPOLARITY_HIGH;
  sBreakDeadTimeConfig.BreakFilter = 0;
  sBreakDeadTimeConfig.BreakAFMode = TIM_BREAK_AFMODE_INPUT;
  sBreakDeadTimeConfig.Break2State = TIM_BREAK2_DISABLE;
  sBreakDeadTimeConfig.Break2Polarity = TIM_BREAK2POLARITY_HIGH;
  sBreakDeadTimeConfig.Break2Filter = 0;
  sBreakDeadTimeConfig.Break2AFMode = TIM_BREAK_AFMODE_INPUT;
  sBreakDeadTimeConfig.AutomaticOutput = TIM_AUTOMATICOUTPUT_DISABLE;
  if (HAL_TIMEx_ConfigBreakDeadTime(&htim1, &sBreakDeadTimeConfig) != HAL_OK)
  {
    Error_Handler();
  }
  HAL_TIM_MspPostInit(&htim1);

}

static void MX_TIM2_Init(void)
{

  TIM_ClockConfigTypeDef sClockSourceConfig = {0};
  TIM_MasterConfigTypeDef sMasterConfig = {0};
  TIM_OC_InitTypeDef sConfigOC = {0};

  htim2.Instance = TIM2;
  htim2.Init.Prescaler = 169;
  htim2.Init.CounterMode = TIM_COUNTERMODE_UP;
  htim2.Init.Period = 19999;
  htim2.Init.ClockDivision = TIM_CLOCKDIVISION_DIV1;
  htim2.Init.AutoReloadPreload = TIM_AUTORELOAD_PRELOAD_DISABLE;
  if (HAL_TIM_Base_Init(&htim2) != HAL_OK)
  {
    Error_Handler();
  }
  sClockSourceConfig.ClockSource = TIM_CLOCKSOURCE_INTERNAL;
  if (HAL_TIM_ConfigClockSource(&htim2, &sClockSourceConfig) != HAL_OK)
  {
    Error_Handler();
  }
  if (HAL_TIM_PWM_Init(&htim2) != HAL_OK)
  {
    Error_Handler();
  }
  sMasterConfig.MasterOutputTrigger = TIM_TRGO_RESET;
  sMasterConfig.MasterSlaveMode = TIM_MASTERSLAVEMODE_DISABLE;
  if (HAL_TIMEx_MasterConfigSynchronization(&htim2, &sMasterConfig) != HAL_OK)
  {
    Error_Handler();
  }
  sConfigOC.OCMode = TIM_OCMODE_PWM1;
  sConfigOC.Pulse = 500;
  sConfigOC.OCPolarity = TIM_OCPOLARITY_HIGH;
  sConfigOC.OCFastMode = TIM_OCFAST_DISABLE;
  if (HAL_TIM_PWM_ConfigChannel(&htim2, &sConfigOC, TIM_CHANNEL_1) != HAL_OK)
  {
    Error_Handler();
  }
  if (HAL_TIM_PWM_ConfigChannel(&htim2, &sConfigOC, TIM_CHANNEL_3) != HAL_OK)
  {
    Error_Handler();
  }
  if (HAL_TIM_PWM_ConfigChannel(&htim2, &sConfigOC, TIM_CHANNEL_4) != HAL_OK)
  {
    Error_Handler();
  }
  HAL_TIM_MspPostInit(&htim2);

}

static void MX_TIM4_Init(void)
{

  TIM_ClockConfigTypeDef sClockSourceConfig = {0};
  TIM_MasterConfigTypeDef sMasterConfig = {0};
  TIM_IC_InitTypeDef sConfigIC = {0};

  htim4.Instance = TIM4;
  htim4.Init.Prescaler = 33999;
  htim4.Init.CounterMode = TIM_COUNTERMODE_UP;
  htim4.Init.Period = 65535;
  htim4.Init.ClockDivision = TIM_CLOCKDIVISION_DIV1;
  htim4.Init.AutoReloadPreload = TIM_AUTORELOAD_PRELOAD_DISABLE;
  if (HAL_TIM_Base_Init(&htim4) != HAL_OK)
  {
    Error_Handler();
  }
  sClockSourceConfig.ClockSource = TIM_CLOCKSOURCE_INTERNAL;
  if (HAL_TIM_ConfigClockSource(&htim4, &sClockSourceConfig) != HAL_OK)
  {
    Error_Handler();
  }
  if (HAL_TIM_IC_Init(&htim4) != HAL_OK)
  {
    Error_Handler();
  }
  sMasterConfig.MasterOutputTrigger = TIM_TRGO_RESET;
  sMasterConfig.MasterSlaveMode = TIM_MASTERSLAVEMODE_DISABLE;
  if (HAL_TIMEx_MasterConfigSynchronization(&htim4, &sMasterConfig) != HAL_OK)
  {
    Error_Handler();
  }
  sConfigIC.ICPolarity = TIM_INPUTCHANNELPOLARITY_BOTHEDGE;
  sConfigIC.ICSelection = TIM_ICSELECTION_DIRECTTI;
  sConfigIC.ICPrescaler = TIM_ICPSC_DIV1;
  sConfigIC.ICFilter = 0;
  if (HAL_TIM_IC_ConfigChannel(&htim4, &sConfigIC, TIM_CHANNEL_1) != HAL_OK)
  {
    Error_Handler();
  }

}

static void MX_TIM5_Init(void)
{

  TIM_ClockConfigTypeDef sClockSourceConfig = {0};
  TIM_MasterConfigTypeDef sMasterConfig = {0};
  TIM_IC_InitTypeDef sConfigIC = {0};

  htim5.Instance = TIM5;
  htim5.Init.Prescaler = 169;
  htim5.Init.CounterMode = TIM_COUNTERMODE_UP;
  htim5.Init.Period = 4.294967295E9;
  htim5.Init.ClockDivision = TIM_CLOCKDIVISION_DIV1;
  htim5.Init.AutoReloadPreload = TIM_AUTORELOAD_PRELOAD_DISABLE;
  if (HAL_TIM_Base_Init(&htim5) != HAL_OK)
  {
    Error_Handler();
  }
  sClockSourceConfig.ClockSource = TIM_CLOCKSOURCE_INTERNAL;
  if (HAL_TIM_ConfigClockSource(&htim5, &sClockSourceConfig) != HAL_OK)
  {
    Error_Handler();
  }
  if (HAL_TIM_IC_Init(&htim5) != HAL_OK)
  {
    Error_Handler();
  }
  sMasterConfig.MasterOutputTrigger = TIM_TRGO_RESET;
  sMasterConfig.MasterSlaveMode = TIM_MASTERSLAVEMODE_DISABLE;
  if (HAL_TIMEx_MasterConfigSynchronization(&htim5, &sMasterConfig) != HAL_OK)
  {
    Error_Handler();
  }
  sConfigIC.ICPolarity = TIM_INPUTCHANNELPOLARITY_BOTHEDGE;
  sConfigIC.ICSelection = TIM_ICSELECTION_DIRECTTI;
  sConfigIC.ICPrescaler = TIM_ICPSC_DIV1;
  sConfigIC.ICFilter = 0;
  if (HAL_TIM_IC_ConfigChannel(&htim5, &sConfigIC, TIM_CHANNEL_1) != HAL_OK)
  {
    Error_Handler();
  }
  if (HAL_TIM_IC_ConfigChannel(&htim5, &sConfigIC, TIM_CHANNEL_2) != HAL_OK)
  {
    Error_Handler();
  }

}

static void MX_GPIO_Init(void)
{
  GPIO_InitTypeDef GPIO_InitStruct = {0};

  /* GPIO Ports Clock Enable */
  __HAL_RCC_GPIOC_CLK_ENABLE();
  __HAL_RCC_GPIOF_CLK_ENABLE();
  __HAL_RCC_GPIOA_CLK_ENABLE();
  __HAL_RCC_GPIOB_CLK_ENABLE();
  __HAL_RCC_GPIOD_CLK_ENABLE();

  /*Configure GPIO pin Output Level */
  HAL_GPIO_WritePin(LD2_GPIO_Port, LD2_Pin, GPIO_PIN_RESET);

  /*Configure GPIO pin Output Level */
  HAL_GPIO_WritePin(GPIOB, ldr_Pin|ldg_Pin, GPIO_PIN_RESET);

  /*Configure GPIO pin : B1_Pin */
  GPIO_InitStruct.Pin = B1_Pin;
  GPIO_InitStruct.Mode = GPIO_MODE_IT_RISING;
  GPIO_InitStruct.Pull = GPIO_NOPULL;
  HAL_GPIO_Init(B1_GPIO_Port, &GPIO_InitStruct);

  /*Configure GPIO pin : LD2_Pin */
  GPIO_InitStruct.Pin = LD2_Pin;
  GPIO_InitStruct.Mode = GPIO_MODE_OUTPUT_PP;
  GPIO_InitStruct.Pull = GPIO_NOPULL;
  GPIO_InitStruct.Speed = GPIO_SPEED_FREQ_LOW;
  HAL_GPIO_Init(LD2_GPIO_Port, &GPIO_InitStruct);

  /*Configure GPIO pins : ldr_Pin ldg_Pin */
  GPIO_InitStruct.Pin = ldr_Pin|ldg_Pin;
  GPIO_InitStruct.Mode = GPIO_MODE_OUTPUT_PP;
  GPIO_InitStruct.Pull = GPIO_NOPULL;
  GPIO_InitStruct.Speed = GPIO_SPEED_FREQ_LOW;
  HAL_GPIO_Init(GPIOB, &GPIO_InitStruct);

  /* EXTI interrupt init*/
  HAL_NVIC_SetPriority(EXTI15_10_IRQn, 0, 0);
  HAL_NVIC_EnableIRQ(EXTI15_10_IRQn);

}

/* USER CODE BEGIN 4 */
/**
  * @brief  Retargets the C library printf function to the USART.
  * @param  None
  * @retval None
  */
PUTCHAR_PROTOTYPE
{
  /* Place your implementation of fputc here */
  /* e.g. write a character to the USART1 and Loop until the end of transmission */
  HAL_UART_Transmit(&hlpuart1, (uint8_t *)&ch, 1, 0xFFFF);

  return ch;
}

/* USER CODE END 4 */

void Error_Handler(void)
{
  __disable_irq();
  while (1)
  {
  }
}
